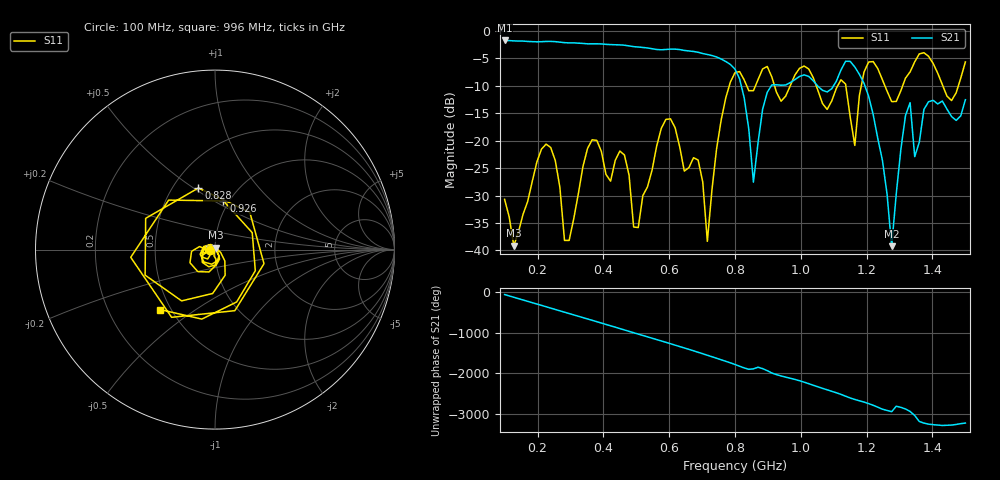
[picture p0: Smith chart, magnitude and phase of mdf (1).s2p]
! NanoVNA-App
! Date: 2025-09-25 17:41:44
! Start: 100MHz Stop: 1,5GHz Points: 101
! S-Parameter data: F S11 S21 S12 S22
# Hz S RI R 50
!  Frequency  S11_Real  S11_Imag  S21_Real  S21_Imag  S12_Real  S12_Imag  S22_Real  S22_Imag
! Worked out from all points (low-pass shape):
!   101 points, 100 MHz to 1.5 GHz, reference 50 ohm
!   highest |S21| = -1.80 dB at 100 MHz (marker M1); lowest = -39.2 dB at 1.276 GHz (marker M2)
!   |S21| within 3 dB of the highest: start of sweep to 743.8 MHz
!   lowest |S11| = -39.1 dB at 128 MHz (marker M3), VSWR 1.02, Z = 50.3 + j1.06 ohm
!   |S11| at or under -10 dB: start of sweep to 782.8 MHz; 919.9 MHz to 968.1 MHz (48.23 MHz wide, 5.11 % of centre); 1.047 GHz to 1.112 GHz (65.97 MHz wide, 6.11 % of centre) (the widest 3 of 7)
!   S12 and S22 are empty: the file has one direction only
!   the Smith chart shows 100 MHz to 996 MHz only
!   S11 on the Smith chart (normalised r, x): 100 MHz: 0.94, -0.01; 828 MHz: 0.67, +0.52; 926 MHz: 0.94, +0.55; 996 MHz: 0.44, -0.37
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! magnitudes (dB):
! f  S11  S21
! 100 MHz  -30.7  -1.8
! 128 MHz  -39.1  -1.9
! 212 MHz  -21.6  -2.0
! 282 MHz  -38.2  -2.2
! 338 MHz  -24.7  -2.3
! 464 MHz  -22.6  -2.7
! 506 MHz  -35.8  -3.0
! 576 MHz  -17.8  -3.5
! 688 MHz  -23.5  -3.9
! 716 MHz  -38.3  -4.3
! 800 MHz  -7.6  -7.0
! 828 MHz  -9.0  -12.3
! 856 MHz  -10.9  -27.6
! 926 MHz  -11.2  -9.9
! 996 MHz  -6.9  -8.3
! 1.038 GHz  -8.6  -9.1
! 1.164 GHz  -20.9  -6.6
! 1.192 GHz  -7.5  -9.6
! 1.276 GHz  -12.9  -39.2
! 1.332 GHz  -7.5  -13.1
! 1.346 GHz  -5.7  -22.9
! 1.5 GHz  -5.7  -12.6
